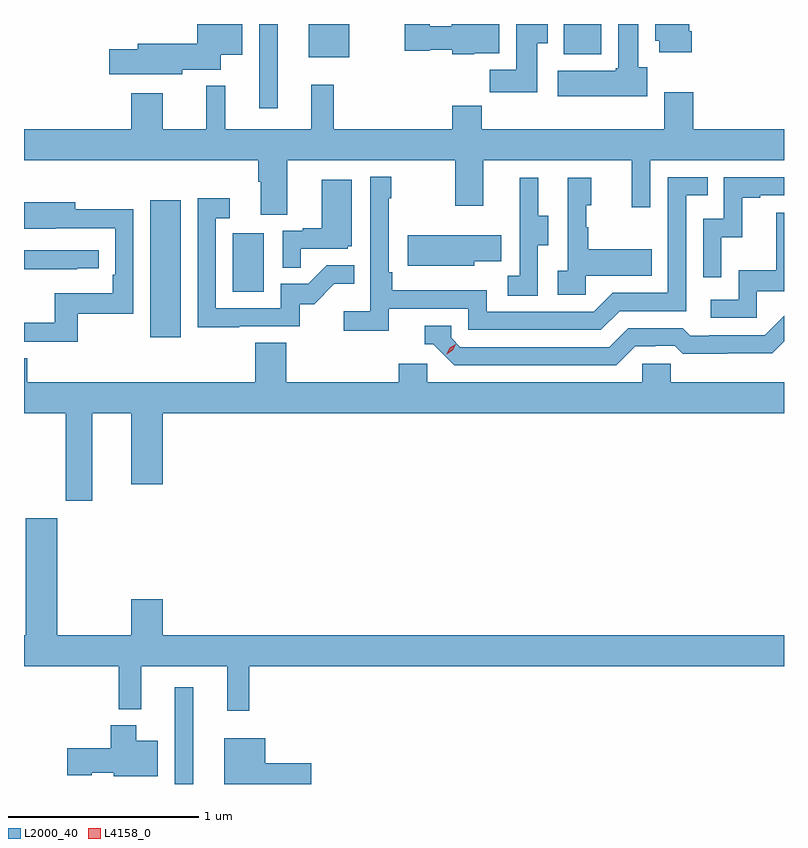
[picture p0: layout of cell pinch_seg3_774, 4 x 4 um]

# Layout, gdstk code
import gdstk
lib = gdstk.Library(unit=1e-6, precision=1e-09)
def R(c, l, rs):  # rectangles x0, y0, x1, y1
    for r in rs: c.add(gdstk.rectangle(r[:2], r[2:], *l))
def P(c, l, *ps):  # polygons
    for p in ps: c.add(gdstk.Polygon(p, *l))
L2000_40 = (2000, 40)
L4158_0 = (4158, 0)

pinch_seg3_774 = lib.new_cell('pinch_seg3_774')
R(pinch_seg3_774, L2000_40, [(824.577,717.613,824.674,718.123), (824.447,719.964,824.608,720.685), (824.882,720.204,825.046,720.511), (825.021,721.17,825.118,721.613), (825.281,721.439,825.496,721.613), (826.625,721.454,826.822,721.613)])
P(pinch_seg3_774, L2000_40, [(826.483,721.513),(826.54,721.513),(826.54,721.613),(826.373,721.613),(826.373,721.372),(826.234,721.372),(826.234,721.254),(826.483,721.254)],
  [(824.616,721.373),(824.818,721.373),(824.818,721.451),(824.932,721.451),(824.932,721.613),(824.696,721.613),(824.696,721.509),(824.381,721.509),(824.381,721.479),(824.232,721.479),(824.232,721.349),(824.616,721.349)],
  [(827.297,721.576),(827.284,721.576),(827.284,721.613),(827.105,721.613),(827.105,721.524),(827.126,721.524),(827.126,721.464),(827.297,721.464)],
  [(826.152,721.46),(826.285,721.46),(826.285,721.613),(826.034,721.613),(826.034,721.6),(825.918,721.6),(825.918,721.613),(825.786,721.613),(825.786,721.471),(825.918,721.471),(825.918,721.478),(826.038,721.478),(826.038,721.454),(826.152,721.454)],
  [(827.062,721.386),(827.017,721.386),(827.017,721.613),(826.91,721.613),(826.91,721.38),(826.897,721.38),(826.897,721.366),(826.593,721.366),(826.593,721.232),(827.062,721.232)],
  [(825.169,720.896),(826.054,720.896),(826.054,720.657),(826.201,720.657),(826.201,720.896),(826.982,720.896),(826.982,720.648),(827.079,720.648),(827.079,720.896),(827.783,720.896),(827.783,721.06),(827.306,721.06),(827.306,721.255),(827.153,721.255),(827.153,721.06),(826.193,721.06),(826.193,721.184),(826.037,721.184),(826.037,721.06),(825.413,721.06),(825.413,721.294),(825.296,721.294),(825.296,721.06),(824.843,721.06),(824.843,721.288),(824.743,721.288),(824.743,721.06),(824.512,721.06),(824.512,721.249),(824.348,721.249),(824.348,721.06),(823.783,721.06),(823.783,720.896),(825.017,720.896),(825.017,720.784),(825.029,720.784),(825.029,720.61),(825.169,720.61)],
  [(825.704,720.114),(826.122,720.114),(826.122,720.003),(826.819,720.003),(826.918,720.102),(827.268,720.102),(827.268,720.711),(827.381,720.711),(827.381,720.807),(827.172,720.807),(827.172,720.198),(826.881,720.198),(826.782,720.099),(826.218,720.099),(826.218,720.211),(825.722,720.211),(825.722,720.307),(825.702,720.307),(825.702,720.695),(825.715,720.695),(825.715,720.808),(825.606,720.808),(825.606,720.1),(825.465,720.1),(825.465,719.998),(825.704,719.998)],
  [(827.454,720.491),(827.564,720.491),(827.564,720.699),(827.659,720.699),(827.659,720.711),(827.783,720.711),(827.783,720.807),(827.466,720.807),(827.466,720.588),(827.358,720.588),(827.358,720.279),(827.454,720.279)],
  [(826.74,720.287),(827.087,720.287),(827.087,720.427),(826.753,720.427),(826.753,720.542),(826.743,720.542),(826.743,720.66),(826.768,720.66),(826.768,720.805),(826.644,720.805),(826.644,720.314),(826.593,720.314),(826.593,720.189),(826.74,720.189)],
  [(826.488,720.448),(826.543,720.448),(826.543,720.603),(826.489,720.603),(826.489,720.805),(826.391,720.805),(826.391,720.591),(826.392,720.591),(826.392,720.287),(826.329,720.287),(826.329,720.184),(826.488,720.184)],
  [(825.239,720.429),(825.486,720.429),(825.486,720.444),(825.508,720.444),(825.508,720.793),(825.35,720.793),(825.35,720.538),(825.251,720.538),(825.251,720.525),(825.144,720.525),(825.144,720.331),(825.239,720.331)],
  [(824.915,720.021),(825.234,720.021),(825.234,720.138),(825.31,720.138),(825.417,720.245),(825.521,720.245),(825.521,720.344),(825.377,720.344),(825.279,720.246),(825.135,720.246),(825.135,720.117),(824.793,720.117),(824.793,720.591),(824.866,720.591),(824.866,720.697),(824.697,720.697),(824.697,720.016),(824.915,720.016)],
  [(824.065,720.087),(824.358,720.087),(824.358,720.638),(824.053,720.638),(824.053,720.676),(823.783,720.676),(823.783,720.536),(823.949,720.536),(823.949,720.537),(824.262,720.537),(824.262,720.292),(824.249,720.292),(824.249,720.196),(823.944,720.196),(823.944,720.041),(823.783,720.041),(823.783,719.94),(824.065,719.94)],
  [(827.64,720.207),(827.783,720.207),(827.783,720.619),(827.743,720.619),(827.743,720.316),(827.544,720.316),(827.544,720.162),(827.397,720.162),(827.397,720.066),(827.64,720.066)],
  [(826.152,720.365),(826.295,720.365),(826.295,720.502),(825.804,720.502),(825.804,720.341),(826.152,720.341)],
  [(824.063,720.327),(824.176,720.327),(824.176,720.423),(823.783,720.423),(823.783,720.322),(824.063,720.322)],
  [(826.999,719.916),(827.106,719.916),(827.106,719.919),(827.209,719.919),(827.251,719.877),(827.484,719.877),(827.484,719.879),(827.72,719.879),(827.783,719.942),(827.783,720.077),(827.682,719.976),(827.389,719.976),(827.389,719.973),(827.29,719.973),(827.251,720.012),(826.962,720.012),(826.863,719.913),(826.08,719.913),(826.032,719.961),(826.032,720.024),(825.893,720.024),(825.893,719.928),(825.936,719.928),(826.047,719.817),(826.9,719.817)],
  [(824.143,719.564),(824.348,719.564),(824.348,719.19),(824.512,719.19),(824.512,719.564),(827.783,719.564),(827.783,719.728),(827.187,719.728),(827.187,719.826),(827.037,719.826),(827.037,719.728),(825.906,719.728),(825.906,719.826),(825.755,719.826),(825.755,719.728),(825.164,719.728),(825.164,719.936),(824.999,719.936),(824.999,719.728),(823.799,719.728),(823.799,719.855),(823.783,719.855),(823.783,719.564),(824.003,719.564),(824.003,719.103),(824.143,719.103)],
  [(824.512,718.585),(824.348,718.585),(824.348,718.396),(823.957,718.396),(823.957,719.011),(823.793,719.011),(823.793,718.396),(823.783,718.396),(823.783,718.232),(824.281,718.232),(824.281,718.007),(824.399,718.007),(824.399,718.232),(824.852,718.232),(824.852,717.999),(824.969,717.999),(824.969,718.232),(827.783,718.232),(827.783,718.396),(824.512,718.396)],
  [(824.488,717.841),(824.374,717.841),(824.374,717.922),(824.24,717.922),(824.24,717.801),(824.01,717.801),(824.01,717.659),(824.139,717.659),(824.139,717.671),(824.256,717.671),(824.256,717.653),(824.488,717.653)],
  [(825.295,717.722),(825.052,717.722),(825.052,717.853),(824.837,717.853),(824.837,717.613),(825.295,717.613)])
P(pinch_seg3_774, L4158_0, [(826.008,719.876),(826.008,719.877),(826.024,719.909),(826.055,719.928),(826.055,719.928),(826.055,719.928),(826.039,719.895),(826.008,719.876)])

lib.write_gds('pinch_seg3_774.gds')
